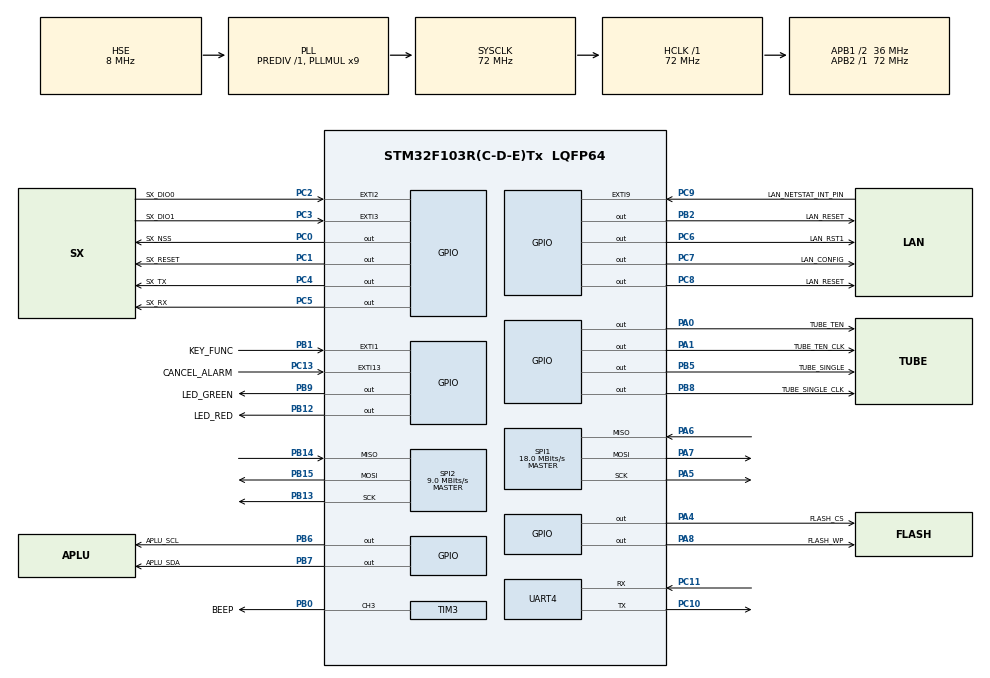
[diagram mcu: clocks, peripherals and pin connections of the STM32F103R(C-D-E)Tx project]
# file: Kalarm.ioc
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Dma.Request0=UART4_RX
Dma.Request1=UART4_TX
Dma.UART4_RX.0.Direction=DMA_PERIPH_TO_MEMORY
Dma.UART4_RX.0.Instance=DMA2_Channel3
Dma.UART4_RX.0.MemDataAlignment=DMA_MDATAALIGN_BYTE
Dma.UART4_RX.0.MemInc=DMA_MINC_ENABLE
Dma.UART4_RX.0.Mode=DMA_NORMAL
Dma.UART4_RX.0.PeriphDataAlignment=DMA_PDATAALIGN_BYTE
Dma.UART4_RX.0.PeriphInc=DMA_PINC_DISABLE
Dma.UART4_RX.0.Priority=DMA_PRIORITY_LOW
Dma.UART4_TX.1.Direction=DMA_MEMORY_TO_PERIPH
Dma.UART4_TX.1.Instance=DMA2_Channel5
Dma.UART4_TX.1.MemDataAlignment=DMA_MDATAALIGN_BYTE
Dma.UART4_TX.1.MemInc=DMA_MINC_ENABLE
Dma.UART4_TX.1.Mode=DMA_NORMAL
Dma.UART4_TX.1.PeriphDataAlignment=DMA_PDATAALIGN_BYTE
Dma.UART4_TX.1.PeriphInc=DMA_PINC_DISABLE
Dma.UART4_TX.1.Priority=DMA_PRIORITY_LOW
FREERTOS.INCLUDE_uxTaskGetStackHighWaterMark=1
FREERTOS.Tasks01=defaultTask,0,128,StartDefaultTask,Default,NULL
FREERTOS.configTOTAL_HEAP_SIZE=20480
FREERTOS.configUSE_TIMERS=1
Mcu.Family=STM32F1
Mcu.Name=STM32F103R(C-D-E)Tx
Mcu.Package=LQFP64
NVIC.DMA2_Channel3_IRQn=true\:5\:0\:false\:true\:true\:5\:true\:false
NVIC.DMA2_Channel4_5_IRQn=true\:5\:0\:false\:true\:true\:6\:true\:false
NVIC.EXTI15_10_IRQn=true\:5\:0\:false\:true\:true\:9\:true\:true
NVIC.EXTI1_IRQn=true\:5\:0\:false\:true\:true\:10\:true\:true
NVIC.EXTI2_IRQn=true\:5\:0\:false\:true\:true\:11\:true\:true
NVIC.EXTI3_IRQn=true\:5\:0\:false\:true\:true\:12\:true\:true
NVIC.EXTI9_5_IRQn=true\:5\:0\:false\:true\:true\:7\:true\:true
NVIC.FLASH_IRQn=true\:5\:0\:false\:true\:true\:3\:true\:true
NVIC.PriorityGroup=NVIC_PRIORITYGROUP_4
NVIC.RCC_IRQn=true\:5\:0\:false\:true\:true\:2\:true\:true
NVIC.RTC_IRQn=true\:5\:0\:false\:true\:true\:4\:true\:true
NVIC.TIM3_IRQn=true\:5\:0\:false\:true\:true\:8\:true\:true
NVIC.UART4_IRQn=true\:5\:0\:false\:true\:true\:1\:true\:true
PA0-WKUP.GPIO_Label=TUBE_TEN
PA0-WKUP.GPIO_Speed=GPIO_SPEED_FREQ_HIGH
PA0-WKUP.Signal=GPIO_Output
PA1.GPIO_Label=TUBE_TEN_CLK
PA1.GPIO_Speed=GPIO_SPEED_FREQ_HIGH
PA1.PinState=GPIO_PIN_SET
PA1.Signal=GPIO_Output
PA13.Mode=JTAG_5_pins
PA13.Signal=SYS_JTMS-SWDIO
PA14.Mode=JTAG_5_pins
PA14.Signal=SYS_JTCK-SWCLK
PA15.Mode=JTAG_5_pins
PA15.Signal=SYS_JTDI
PA4.GPIO_Label=FLASH_CS
PA4.GPIO_Speed=GPIO_SPEED_FREQ_HIGH
PA4.PinState=GPIO_PIN_SET
PA4.Signal=GPIO_Output
PA5.Mode=Full_Duplex_Master
PA5.Signal=SPI1_SCK
PA6.Mode=Full_Duplex_Master
PA6.Signal=SPI1_MISO
PA7.Mode=Full_Duplex_Master
PA7.Signal=SPI1_MOSI
PA8.GPIO_Label=FLASH_WP
PA8.GPIO_Speed=GPIO_SPEED_FREQ_HIGH
PA8.PinState=GPIO_PIN_SET
PA8.Signal=GPIO_Output
PB0.GPIO_Label=BEEP
PB0.Signal=S_TIM3_CH3
PB1.GPIO_Label=KEY_FUNC
PB1.GPIO_PuPd=GPIO_PULLUP
PB1.Signal=GPXTI1
PB12.GPIO_Label=LED_RED
PB12.PinState=GPIO_PIN_SET
PB12.Signal=GPIO_Output
PB13.Mode=Full_Duplex_Master
PB13.Signal=SPI2_SCK
PB14.Mode=Full_Duplex_Master
PB14.Signal=SPI2_MISO
PB15.Mode=Full_Duplex_Master
PB15.Signal=SPI2_MOSI
PB2.GPIO_Label=LAN_RESET
PB2.GPIO_Speed=GPIO_SPEED_FREQ_LOW
PB2.PinState=GPIO_PIN_SET
PB2.Signal=GPIO_Output
PB3.Mode=JTAG_5_pins
PB3.Signal=SYS_JTDO-TRACESWO
PB4.Mode=JTAG_5_pins
PB4.Signal=SYS_NJTRST
PB5.GPIO_Label=TUBE_SINGLE
PB5.GPIO_Speed=GPIO_SPEED_FREQ_HIGH
PB5.Signal=GPIO_Output
PB6.GPIO_Label=APLU_SCL
PB6.GPIO_Speed=GPIO_SPEED_FREQ_HIGH
PB6.PinState=GPIO_PIN_SET
PB6.Signal=GPIO_Output
PB7.GPIO_Label=APLU_SDA
PB7.GPIO_Speed=GPIO_SPEED_FREQ_HIGH
PB7.PinState=GPIO_PIN_SET
PB7.Signal=GPIO_Output
PB8.GPIO_Label=TUBE_SINGLE_CLK
PB8.GPIO_Speed=GPIO_SPEED_FREQ_HIGH
PB8.PinState=GPIO_PIN_SET
PB8.Signal=GPIO_Output
PB9.GPIO_Label=LED_GREEN
PB9.PinState=GPIO_PIN_SET
PB9.Signal=GPIO_Output
PC0.GPIO_Label=SX_NSS
PC0.GPIO_Speed=GPIO_SPEED_FREQ_HIGH
PC0.PinState=GPIO_PIN_SET
PC0.Signal=GPIO_Output
PC1.GPIO_Label=SX_RESET
PC1.GPIO_Speed=GPIO_SPEED_FREQ_HIGH
PC1.PinState=GPIO_PIN_SET
PC1.Signal=GPIO_Output
PC10.Mode=Asynchronous
PC10.Signal=UART4_TX
PC11.Mode=Asynchronous
PC11.Signal=UART4_RX
PC13-TAMPER-RTC.GPIO_Label=CANCEL_ALARM
PC13-TAMPER-RTC.GPIO_PuPd=GPIO_PULLUP
PC13-TAMPER-RTC.Signal=GPXTI13
PC14-OSC32_IN.Mode=LSE-External-Oscillator
PC14-OSC32_IN.Signal=RCC_OSC32_IN
PC15-OSC32_OUT.Mode=LSE-External-Oscillator
PC15-OSC32_OUT.Signal=RCC_OSC32_OUT
PC2.GPIO_Label=SX_DIO0
PC2.GPIO_PuPd=GPIO_PULLUP
PC2.Signal=GPXTI2
PC3.GPIO_Label=SX_DIO1
PC3.GPIO_PuPd=GPIO_PULLUP
PC3.Signal=GPXTI3
PC4.GPIO_Label=SX_TX
PC4.GPIO_Speed=GPIO_SPEED_FREQ_HIGH
PC4.PinState=GPIO_PIN_RESET
PC4.Signal=GPIO_Output
PC5.GPIO_Label=SX_RX
PC5.GPIO_Speed=GPIO_SPEED_FREQ_HIGH
PC5.PinState=GPIO_PIN_RESET
PC5.Signal=GPIO_Output
PC6.GPIO_Label=LAN_RST1
PC6.GPIO_Speed=GPIO_SPEED_FREQ_HIGH
PC6.PinState=GPIO_PIN_SET
PC6.Signal=GPIO_Output
PC7.GPIO_Label=LAN_CONFIG
PC7.PinState=GPIO_PIN_SET
PC7.Signal=GPIO_Output
PC8.GPIO_Label=LAN_RESET
PC8.GPIO_Speed=GPIO_SPEED_FREQ_HIGH
PC8.PinState=GPIO_PIN_SET
PC8.Signal=GPIO_Output
PC9.GPIO_Label=LAN_NETSTAT_INT_PIN
PC9.GPIO_PuPd=GPIO_PULLDOWN
PC9.Signal=GPXTI9
PD0-OSC_IN.Mode=HSE-External-Oscillator
PD0-OSC_IN.Signal=RCC_OSC_IN
PD1-OSC_OUT.Mode=HSE-External-Oscillator
PD1-OSC_OUT.Signal=RCC_OSC_OUT
ProjectManager.HeapSize=0x00
ProjectManager.StackSize=0x400
ProjectManager.TargetToolchain=MDK-ARM V5
RCC.AHBFreq_Value=72000000
RCC.APB1CLKDivider=RCC_HCLK_DIV2
RCC.APB1Freq_Value=36000000
RCC.APB1TimFreq_Value=72000000
RCC.APB2Freq_Value=72000000
RCC.APB2TimFreq_Value=72000000
RCC.HCLKFreq_Value=72000000
RCC.PLLMUL=RCC_PLL_MUL9
RCC.PLLSourceVirtual=RCC_PLLSOURCE_HSE
RCC.RTCClockSelection=RCC_RTCCLKSOURCE_LSE
RCC.SYSCLKFreq_VALUE=72000000
RCC.SYSCLKSource=RCC_SYSCLKSOURCE_PLLCLK
RCC.USBFreq_Value=72000000
RTC.AsynchPrediv=15
RTC.AutoPrediv=0
RTC.Date=12
RTC.Hours=9
RTC.Minutes=30
RTC.Month=RTC_MONTH_JULY
RTC.WeekDay=RTC_WEEKDAY_THURSDAY
RTC.Year=18
SH.S_TIM3_CH3.0=TIM3_CH3,PWM Generation3 CH3
SPI1.BaudRatePrescaler=SPI_BAUDRATEPRESCALER_4
SPI1.CalculateBaudRate=18.0 MBits/s
SPI1.Direction=SPI_DIRECTION_2LINES
SPI1.Mode=SPI_MODE_MASTER
SPI1.VirtualType=VM_MASTER
SPI2.BaudRatePrescaler=SPI_BAUDRATEPRESCALER_4
SPI2.CalculateBaudRate=9.0 MBits/s
SPI2.Direction=SPI_DIRECTION_2LINES
SPI2.Mode=SPI_MODE_MASTER
SPI2.VirtualType=VM_MASTER
TIM3.AutoReloadPreload=TIM_AUTORELOAD_PRELOAD_ENABLE
TIM3.Channel-PWM\ Generation3\ CH3=TIM_CHANNEL_3
TIM3.Period=10000
TIM3.Prescaler=1
TIM3.Pulse-PWM\ Generation3\ CH3=3000
UART4.VirtualMode=Asynchronous
VP_FREERTOS_VS_ENABLE.Mode=Enabled
VP_RTC_VS_RTC_Activate.Mode=RTC_Enabled
VP_RTC_VS_RTC_Calendar.Mode=RTC_Calendar
board=Kalarm

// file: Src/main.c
/**
  ******************************************************************************
  * @file           : main.c
  * @brief          : Main program body
  ******************************************************************************
  * This notice applies to any and all portions of this file
  * that are not between comment pairs USER CODE BEGIN and
  * USER CODE END. Other portions of this file, whether
  * inserted by the user or by software development tools
  * are owned by their respective copyright owners.
  *
  * Copyright (c) 2018 STMicroelectronics International N.V.
  * All rights reserved.
  *
  * Redistribution and use in source and binary forms, with or without
  * modification, are permitted, provided that the following conditions are met:
  *
  * 1. Redistribution of source code must retain the above copyright notice,
  *    this list of conditions and the following disclaimer.
  * 2. Redistributions in binary form must reproduce the above copyright notice,
  *    this list of conditions and the following disclaimer in the documentation
  *    and/or other materials provided with the distribution.
  * 3. Neither the name of STMicroelectronics nor the names of other
  *    contributors to this software may be used to endorse or promote products
  *    derived from this software without specific written permission.
  * 4. This software, including modifications and/or derivative works of this
  *    software, must execute solely and exclusively on microcontroller or
  *    microprocessor devices manufactured by or for STMicroelectronics.
  * 5. Redistribution and use of this software other than as permitted under
  *    this license is void and will automatically terminate your rights under
  *    this license.
  *
  * THIS SOFTWARE IS PROVIDED BY STMICROELECTRONICS AND CONTRIBUTORS "AS IS"
  * AND ANY EXPRESS, IMPLIED OR STATUTORY WARRANTIES, INCLUDING, BUT NOT
  * LIMITED TO, THE IMPLIED WARRANTIES OF MERCHANTABILITY, FITNESS FOR A
  * PARTICULAR PURPOSE AND NON-INFRINGEMENT OF THIRD PARTY INTELLECTUAL PROPERTY
  * RIGHTS ARE DISCLAIMED TO THE FULLEST EXTENT PERMITTED BY LAW. IN NO EVENT
  * SHALL STMICROELECTRONICS OR CONTRIBUTORS BE LIABLE FOR ANY DIRECT, INDIRECT,
  * INCIDENTAL, SPECIAL, EXEMPLARY, OR CONSEQUENTIAL DAMAGES (INCLUDING, BUT NOT
  * LIMITED TO, PROCUREMENT OF SUBSTITUTE GOODS OR SERVICES; LOSS OF USE, DATA,
  * OR PROFITS; OR BUSINESS INTERRUPTION) HOWEVER CAUSED AND ON ANY THEORY OF
  * LIABILITY, WHETHER IN CONTRACT, STRICT LIABILITY, OR TORT (INCLUDING
  * NEGLIGENCE OR OTHERWISE) ARISING IN ANY WAY OUT OF THE USE OF THIS SOFTWARE,
  * EVEN IF ADVISED OF THE POSSIBILITY OF SUCH DAMAGE.
  *
  ******************************************************************************
  */
#include "main.h"
#include "stm32f1xx_hal.h"
#include "cmsis_os.h"
#include "dma.h"
#include "rtc.h"
#include "spi.h"
#include "tim.h"
#include "usart.h"
#include "gpio.h"

/* USER CODE BEGIN Includes */
#include "uart_driver.h"
#include "key_value.h"
/* USER CODE END Includes */

/* USER CODE BEGIN PV */
/* Private variables ---------------------------------------------------------*/

/* USER CODE END PV */

void SystemClock_Config(void);
void MX_FREERTOS_Init(void);
static void MX_NVIC_Init(void);

/* USER CODE BEGIN PFP */
/* Private function prototypes -----------------------------------------------*/

/* USER CODE END PFP */

int main(void)
{
  /* USER CODE BEGIN 1 */
//      SCB->VTOR = FLASH_BASE | 0x5800;
  /* USER CODE END 1 */

  /* MCU Configuration----------------------------------------------------------*/

  /* Reset of all peripherals, Initializes the Flash interface and the Systick. */
  HAL_Init();

  /* Configure the system clock */
  SystemClock_Config();

  /* Initialize all configured peripherals */
  MX_GPIO_Init();
  MX_DMA_Init();
  MX_RTC_Init();
  MX_UART4_Init();
  MX_TIM3_Init();
  MX_SPI1_Init();
  MX_SPI2_Init();

  /* Initialize interrupts */
  MX_NVIC_Init();
  /* USER CODE BEGIN 2 */
  init_key_value( (110), (112), (114) );
  extern void InitPeripherals( void );
  InitPeripherals();
  /* USER CODE END 2 */

  /* Call init function for freertos objects (in freertos.c) */
  MX_FREERTOS_Init();

  /* Start scheduler */
  osKernelStart();

  /* We should never get here as control is now taken by the scheduler */

  /* Infinite loop */
  while (1)
  {

  }

}

void SystemClock_Config(void)
{

  RCC_OscInitTypeDef RCC_OscInitStruct;
  RCC_ClkInitTypeDef RCC_ClkInitStruct;
  RCC_PeriphCLKInitTypeDef PeriphClkInit;

    /**Initializes the CPU, AHB and APB busses clocks
    */
  RCC_OscInitStruct.OscillatorType = RCC_OSCILLATORTYPE_HSE|RCC_OSCILLATORTYPE_LSE;
  RCC_OscInitStruct.HSEState = RCC_HSE_ON;
  RCC_OscInitStruct.HSEPredivValue = RCC_HSE_PREDIV_DIV1;
  RCC_OscInitStruct.LSEState = RCC_LSE_ON;
  RCC_OscInitStruct.HSIState = RCC_HSI_ON;
  RCC_OscInitStruct.PLL.PLLState = RCC_PLL_ON;
  RCC_OscInitStruct.PLL.PLLSource = RCC_PLLSOURCE_HSE;
  RCC_OscInitStruct.PLL.PLLMUL = RCC_PLL_MUL9;
  if (HAL_RCC_OscConfig(&RCC_OscInitStruct) != HAL_OK)
  {
    _Error_Handler(__FILE__, __LINE__);
  }

    /**Initializes the CPU, AHB and APB busses clocks
    */
  RCC_ClkInitStruct.ClockType = RCC_CLOCKTYPE_HCLK|RCC_CLOCKTYPE_SYSCLK
                              |RCC_CLOCKTYPE_PCLK1|RCC_CLOCKTYPE_PCLK2;
  RCC_ClkInitStruct.SYSCLKSource = RCC_SYSCLKSOURCE_PLLCLK;
  RCC_ClkInitStruct.AHBCLKDivider = RCC_SYSCLK_DIV1;
  RCC_ClkInitStruct.APB1CLKDivider = RCC_HCLK_DIV2;
  RCC_ClkInitStruct.APB2CLKDivider = RCC_HCLK_DIV1;

  if (HAL_RCC_ClockConfig(&RCC_ClkInitStruct, FLASH_LATENCY_2) != HAL_OK)
  {
    _Error_Handler(__FILE__, __LINE__);
  }

  PeriphClkInit.PeriphClockSelection = RCC_PERIPHCLK_RTC;
  PeriphClkInit.RTCClockSelection = RCC_RTCCLKSOURCE_LSE;
  if (HAL_RCCEx_PeriphCLKConfig(&PeriphClkInit) != HAL_OK)
  {
    _Error_Handler(__FILE__, __LINE__);
  }

    /**Configure the Systick interrupt time
    */
  HAL_SYSTICK_Config(HAL_RCC_GetHCLKFreq()/1000);

    /**Configure the Systick
    */
  HAL_SYSTICK_CLKSourceConfig(SYSTICK_CLKSOURCE_HCLK);

  /* SysTick_IRQn interrupt configuration */
  HAL_NVIC_SetPriority(SysTick_IRQn, 15, 0);
}

/**
  * @brief NVIC Configuration.
  * @retval None
  */
static void MX_NVIC_Init(void)
{
  /* UART4_IRQn interrupt configuration */
  HAL_NVIC_SetPriority(UART4_IRQn, 5, 0);
  HAL_NVIC_EnableIRQ(UART4_IRQn);
  /* RCC_IRQn interrupt configuration */
  HAL_NVIC_SetPriority(RCC_IRQn, 5, 0);
  HAL_NVIC_EnableIRQ(RCC_IRQn);
  /* FLASH_IRQn interrupt configuration */
  HAL_NVIC_SetPriority(FLASH_IRQn, 5, 0);
  HAL_NVIC_EnableIRQ(FLASH_IRQn);
  /* RTC_IRQn interrupt configuration */
  HAL_NVIC_SetPriority(RTC_IRQn, 5, 0);
  HAL_NVIC_EnableIRQ(RTC_IRQn);
  /* DMA2_Channel3_IRQn interrupt configuration */
  HAL_NVIC_SetPriority(DMA2_Channel3_IRQn, 5, 0);
  HAL_NVIC_EnableIRQ(DMA2_Channel3_IRQn);
  /* DMA2_Channel4_5_IRQn interrupt configuration */
  HAL_NVIC_SetPriority(DMA2_Channel4_5_IRQn, 5, 0);
  HAL_NVIC_EnableIRQ(DMA2_Channel4_5_IRQn);
  /* EXTI9_5_IRQn interrupt configuration */
  HAL_NVIC_SetPriority(EXTI9_5_IRQn, 5, 0);
  HAL_NVIC_EnableIRQ(EXTI9_5_IRQn);
  /* TIM3_IRQn interrupt configuration */
  HAL_NVIC_SetPriority(TIM3_IRQn, 5, 0);
  HAL_NVIC_EnableIRQ(TIM3_IRQn);
  /* EXTI15_10_IRQn interrupt configuration */
  HAL_NVIC_SetPriority(EXTI15_10_IRQn, 5, 0);
  HAL_NVIC_EnableIRQ(EXTI15_10_IRQn);
  /* EXTI1_IRQn interrupt configuration */
  HAL_NVIC_SetPriority(EXTI1_IRQn, 5, 0);
  HAL_NVIC_EnableIRQ(EXTI1_IRQn);
  /* EXTI2_IRQn interrupt configuration */
  HAL_NVIC_SetPriority(EXTI2_IRQn, 5, 0);
  HAL_NVIC_EnableIRQ(EXTI2_IRQn);
  /* EXTI3_IRQn interrupt configuration */
  HAL_NVIC_SetPriority(EXTI3_IRQn, 5, 0);
  HAL_NVIC_EnableIRQ(EXTI3_IRQn);
}

void _Error_Handler(char *file, int line)
{
  /* USER CODE BEGIN Error_Handler_Debug */
  /* User can add his own implementation to report the HAL error return state */
  while(1)
  {
      HAL_NVIC_SystemReset();
  }
  /* USER CODE END Error_Handler_Debug */
}

/************************ (C) COPYRIGHT STMicroelectronics *****END OF FILE****/

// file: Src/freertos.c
/**
  ******************************************************************************
  * File Name          : freertos.c
  * Description        : Code for freertos applications
  ******************************************************************************
  * This notice applies to any and all portions of this file
  * that are not between comment pairs USER CODE BEGIN and
  * USER CODE END. Other portions of this file, whether
  * inserted by the user or by software development tools
  * are owned by their respective copyright owners.
  *
  * Copyright (c) 2018 STMicroelectronics International N.V.
  * All rights reserved.
  *
  * Redistribution and use in source and binary forms, with or without
  * modification, are permitted, provided that the following conditions are met:
  *
  * 1. Redistribution of source code must retain the above copyright notice,
  *    this list of conditions and the following disclaimer.
  * 2. Redistributions in binary form must reproduce the above copyright notice,
  *    this list of conditions and the following disclaimer in the documentation
  *    and/or other materials provided with the distribution.
  * 3. Neither the name of STMicroelectronics nor the names of other
  *    contributors to this software may be used to endorse or promote products
  *    derived from this software without specific written permission.
  * 4. This software, including modifications and/or derivative works of this
  *    software, must execute solely and exclusively on microcontroller or
  *    microprocessor devices manufactured by or for STMicroelectronics.
  * 5. Redistribution and use of this software other than as permitted under
  *    this license is void and will automatically terminate your rights under
  *    this license.
  *
  * THIS SOFTWARE IS PROVIDED BY STMICROELECTRONICS AND CONTRIBUTORS "AS IS"
  * AND ANY EXPRESS, IMPLIED OR STATUTORY WARRANTIES, INCLUDING, BUT NOT
  * LIMITED TO, THE IMPLIED WARRANTIES OF MERCHANTABILITY, FITNESS FOR A
  * PARTICULAR PURPOSE AND NON-INFRINGEMENT OF THIRD PARTY INTELLECTUAL PROPERTY
  * RIGHTS ARE DISCLAIMED TO THE FULLEST EXTENT PERMITTED BY LAW. IN NO EVENT
  * SHALL STMICROELECTRONICS OR CONTRIBUTORS BE LIABLE FOR ANY DIRECT, INDIRECT,
  * INCIDENTAL, SPECIAL, EXEMPLARY, OR CONSEQUENTIAL DAMAGES (INCLUDING, BUT NOT
  * LIMITED TO, PROCUREMENT OF SUBSTITUTE GOODS OR SERVICES; LOSS OF USE, DATA,
  * OR PROFITS; OR BUSINESS INTERRUPTION) HOWEVER CAUSED AND ON ANY THEORY OF
  * LIABILITY, WHETHER IN CONTRACT, STRICT LIABILITY, OR TORT (INCLUDING
  * NEGLIGENCE OR OTHERWISE) ARISING IN ANY WAY OUT OF THE USE OF THIS SOFTWARE,
  * EVEN IF ADVISED OF THE POSSIBILITY OF SUCH DAMAGE.
  *
  ******************************************************************************
  */

#include "FreeRTOS.h"
#include "task.h"
#include "cmsis_os.h"

/* USER CODE BEGIN Includes */
#include<stdbool.h>
#include "stm32f1xx_hal.h"
#include "mqtt_app.h"
#include "spi_flash.h"
#include "common.h"
#include "snlist.h"
/* USER CODE END Includes */

osThreadId defaultTaskHandle;

/* USER CODE BEGIN Variables */
SNode *head;
/* USER CODE END Variables */

void StartDefaultTask(void const * argument);

void MX_FREERTOS_Init(void); /* (MISRA C 2004 rule 8.1) */

/* Hook prototypes */

/* Init FreeRTOS */

void MX_FREERTOS_Init(void) {

  /* Create the thread(s) */
  /* definition and creation of defaultTask */
  osThreadDef(defaultTask, StartDefaultTask, osPriorityNormal, 0, 128);
  defaultTaskHandle = osThreadCreate(osThread(defaultTask), NULL);

}

/* StartDefaultTask function */

void StartDefaultTask(void const * argument)
{

  /* USER CODE BEGIN StartDefaultTask */
  bool CheckCh9121ConfigMsg( void );
  void LanThread( void );
  void MqttThread( void );
  void check_hash_conflict( int count,...);

  check_hash_conflict( 10, "lan_baud","lan_packlen","lan_serconf","lan_tcp_mode",\
       "lan_dhcp","lan_timeout","lan_port","lan_ip","LAN_CONFIG","ALPU_RAND_SEED" );

  CheckCh9121ConfigMsg();

  SListInitiate( &head );

  MqttThread();
  LanThread();

  /* Infinite loop */
  for(;;)
  {
    char heap_stack[ 64 ] = { 0 };
    if( sprintf( heap_stack , "HeapSize:%u - %u", xPortGetFreeHeapSize(), xPortGetMinimumEverFreeHeapSize() ) > 0 ){
//        MqttPublish( "UP", ( uint8_t *)heap_stack, strlen( (char *)heap_stack ), MQTT_SEND_UNCONFIRM );
    }
    printf( "HeapSize:%s\r\n", heap_stack );
    osDelay( 10000 );
  }
  /* USER CODE END StartDefaultTask */
}

/************************ (C) COPYRIGHT STMicroelectronics *****END OF FILE****/
